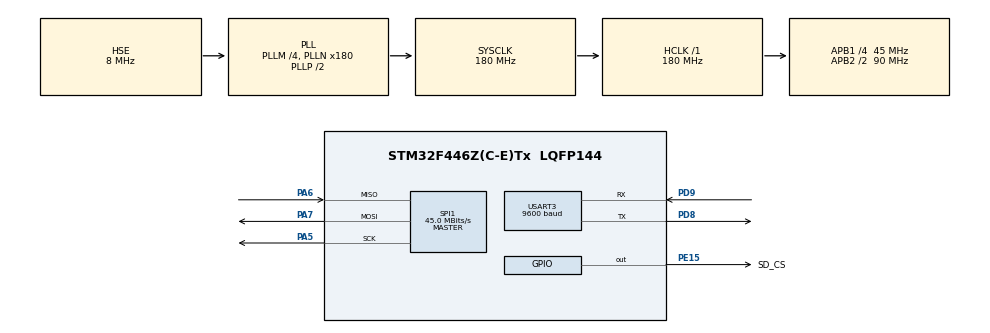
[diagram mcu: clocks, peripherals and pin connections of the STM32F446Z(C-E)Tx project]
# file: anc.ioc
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FATFS._FS_EXFAT=1
FATFS._MAX_SS=4096
FATFS._USE_LFN=1
Mcu.Family=STM32F4
Mcu.Name=STM32F446Z(C-E)Tx
Mcu.Package=LQFP144
NVIC.PriorityGroup=NVIC_PRIORITYGROUP_4
NVIC.USART3_IRQn=true\:0\:0\:false\:false\:true\:true\:true
PA13.Mode=Serial_Wire
PA13.Signal=SYS_JTMS-SWDIO
PA14.Mode=Serial_Wire
PA14.Signal=SYS_JTCK-SWCLK
PA5.Mode=Full_Duplex_Master
PA5.Signal=SPI1_SCK
PA6.Mode=Full_Duplex_Master
PA6.Signal=SPI1_MISO
PA7.Mode=Full_Duplex_Master
PA7.Signal=SPI1_MOSI
PD8.Mode=Asynchronous
PD8.Signal=USART3_TX
PD9.Mode=Asynchronous
PD9.Signal=USART3_RX
PE15.GPIO_Label=SD_CS
PE15.Signal=GPIO_Output
PH0-OSC_IN.Mode=HSE-External-Oscillator
PH0-OSC_IN.Signal=RCC_OSC_IN
PH1-OSC_OUT.Mode=HSE-External-Oscillator
PH1-OSC_OUT.Signal=RCC_OSC_OUT
ProjectManager.HeapSize=0x200
ProjectManager.StackSize=0x400
ProjectManager.TargetToolchain=STM32CubeIDE
RCC.48MHZClocksFreq_Value=24000000
RCC.AHBFreq_Value=180000000
RCC.APB1CLKDivider=RCC_HCLK_DIV4
RCC.APB1Freq_Value=45000000
RCC.APB1TimFreq_Value=90000000
RCC.APB2CLKDivider=RCC_HCLK_DIV2
RCC.APB2Freq_Value=90000000
RCC.APB2TimFreq_Value=180000000
RCC.CortexFreq_Value=180000000
RCC.HCLKFreq_Value=180000000
RCC.HSE_VALUE=8000000
RCC.HSI_VALUE=16000000
RCC.PLLM=4
RCC.PLLMUL=RCC_PLL_MUL9
RCC.PLLN=180
RCC.PLLQ=7
RCC.PLLSourceVirtual=RCC_PLLSOURCE_HSE
RCC.PRESCALERUSB=RCC_USBCLKSOURCE_PLL_DIV1_5
RCC.SYSCLKFreq_VALUE=180000000
RCC.SYSCLKSource=RCC_SYSCLKSOURCE_PLLCLK
RCC.SYSCLKSourceVirtual=RCC_SYSCLKSOURCE_PLLCLK
RCC.USBFreq_Value=51428571.428571425
RCC.VCOOutputFreq_Value=360000000
SPI1.CalculateBaudRate=45.0 MBits/s
SPI1.Direction=SPI_DIRECTION_2LINES
SPI1.Mode=SPI_MODE_MASTER
SPI1.VirtualType=VM_MASTER
USART3.BaudRate=9600
USART3.VirtualMode=VM_ASYNC
VP_FATFS_VS_Generic.Mode=User_defined
board=NUCLEO-F446ZE

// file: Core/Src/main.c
/* USER CODE BEGIN Header */
/**
  ******************************************************************************
  * @file           : main.c
  * @brief          : Main program body
  ******************************************************************************
  * @attention
  *
  * Copyright (c) 2022 STMicroelectronics.
  * All rights reserved.
  *
  * This software is licensed under terms that can be found in the LICENSE file
  * in the root directory of this software component.
  * If no LICENSE file comes with this software, it is provided AS-IS.
  *
  ******************************************************************************
  */
/* USER CODE END Header */
#include "main.h"
#include "fatfs.h"

/* USER CODE BEGIN Includes */
#define ARM_MATH_CM4
#include "arm_math.h"
#include "stdio.h"
#include "fatfs_sd.h"
#include "string.h"
#include "stdio.h"
#include "stdlib.h"
/* USER CODE END Includes */

/* USER CODE BEGIN PTD */
FATFS fs;
FATFS  *pfs;
FIL fil;
FIL fil2;
FRESULT fresult;
DWORD fre_clust;
uint32_t totalSpace, freeSpace;
char buffer[1024];
UINT br,bw;

/* USER CODE END PTD */

/* USER CODE BEGIN PD */
#define TEST_LENGTH_SAMPLES 9975u //IMPORTANT: use same definition value in testData.c
#define BLOCK_SIZE 			1
#define NUM_TAPS 			17
//#define SNR_THRESHOLD_F32 	80.0f
#define PRECISION_DP 6 //number of decimal place to compare
/* USER CODE END PD */

SPI_HandleTypeDef hspi1;

UART_HandleTypeDef huart3;

/* USER CODE BEGIN PV */
float32_t testOutput;
float32_t testInput;
static float32_t firStateF32[BLOCK_SIZE + NUM_TAPS - 1];
const float32_t firCoeffs32[NUM_TAPS] = {
		-0.0021834891907904987,
		  0.023133081888390004,
		  0.03440125360693663,
		  0.054016706019288735,
		  0.07610902012650608,
		  0.09772535709704201,
		  0.11593264129629442,
		  0.12810228628568973,
		  0.13238343618749146,
		  0.12810228628568973,
		  0.11593264129629442,
		  0.09772535709704201,
		  0.07610902012650608,
		  0.054016706019288735,
		  0.03440125360693663,
		  0.023133081888390004,
		  -0.0021834891907904987
};
uint32_t blockSize = BLOCK_SIZE;
uint32_t numBlocks = TEST_LENGTH_SAMPLES/BLOCK_SIZE;
float32_t snr;
uint32_t i=0, count=0, match, mismatch;
/* USER CODE END PV */

void SystemClock_Config(void);
static void MX_GPIO_Init(void);
static void MX_USART3_UART_Init(void);
static void MX_SPI1_Init(void);

/* USER CODE BEGIN 0 */
void send_uart(char *string)
{
	uint8_t len = strlen (string);
	HAL_UART_Transmit(&huart3, (uint8_t *)string, len, 2000);
}

int bufsize (char *buf)
{
	int i=0;
	while (*buf++ != '\0') i++;
	return i;
}

void bufclear (void)
{
	for (int i=0; i<1024; i++)
	{
		buffer[i] = '\0';
	}
}

float arm_snr_f32(float *pRef, float *pTest, uint32_t buffSize)
{
  float EnergySignal = 0.0, EnergyError = 0.0;
  uint32_t i;
  float SNR;
  int temp;
  int *test;

  for (i = 0; i < buffSize; i++) {
 	  /* Checking for a NAN value in pRef array */
	  test =   (int *)(&pRef[i]);
      temp =  *test;
	  if(temp == 0x7FC00000)
		  return(0);
	  /* Checking for a NAN value in pTest array */
	  test =   (int *)(&pTest[i]);
      temp =  *test;
	  if(temp == 0x7FC00000)
		  return(0);
      EnergySignal += pRef[i] * pRef[i];
      EnergyError += (pRef[i] - pTest[i]) * (pRef[i] - pTest[i]);
    }
  /* Checking for a NAN value in EnergyError */
  test =   (int *)(&EnergyError);
  temp =  *test;
  if(temp == 0x7FC00000)
	  return(0);
  SNR = 10 * log10 (EnergySignal / EnergyError);
  return (SNR);
}

void FloatToUint8(uint8_t * char_array, float32_t* data, uint16_t size)
{
    uint16_t i;
    for(i=0;i<512;i++)
    {
        char_array[i] = round(data[i]) ;
    }
}
/* USER CODE END 0 */

int main(void)
{

  /* MCU Configuration--------------------------------------------------------*/

  /* Reset of all peripherals, Initializes the Flash interface and the Systick. */
  HAL_Init();

  /* Configure the system clock */
  SystemClock_Config();

  /* Initialize all configured peripherals */
  MX_GPIO_Init();
  MX_FATFS_Init();
  MX_USART3_UART_Init();
  MX_SPI1_Init();
  /* USER CODE BEGIN 2 */

  /* Mount SD Card */

  fresult = f_mount(&fs,"",1);
  if (fresult == FR_NOT_READY)send_uart("Rosak Bro\n");
  else if(fresult != FR_OK) send_uart("ERROR in mounting SD card\r\n");
  else send_uart("SD CARD mounted successfully\r\n");

  /* USER CODE END 2 */

  /* Infinite loop */
  while (1)
  {
	  arm_fir_instance_f32 S;
	  	  	  	float32_t *inputF32;
	  	  	  	float32_t  *outputF32;

	  	  	  	inputF32 = &testInput;
	  	  	  	outputF32 = &testOutput;
	  	  	  	arm_fir_init_f32(&S, NUM_TAPS, (float32_t *)&firCoeffs32[0], &firStateF32[0], blockSize);

	  	  	  	fresult = f_open(&fil, "one.txt", FA_READ);
	  	  	  	if(fresult != FR_OK) send_uart("ERROR in f_open txt file\r\n");
	  	  	  	else send_uart("f_open for read successful txt\r\n");

	  	  	  	fresult = f_open(&fil2, "one_out_try.txt", FA_READ | FA_WRITE | FA_OPEN_ALWAYS);
	  	  	  	if(fresult != FR_OK) send_uart("ERROR in f_open txt file\r\n");
	  	  	  	else send_uart("f_open for write successful\r\n");

	  	  	  	//BYTE tmp [30];
	  	  	  	//char *data;
	  	  	  	char buf[30];
	  	  	  	while(f_gets((TCHAR*)buf, 30, &fil)) {
	  	  	  	//for (i=0; i<TEST_LENGTH_SAMPLES; i++) {
	  	  	  	  //HAL_UART_Transmit(&huart2, tmp, 8, 2000);
	  	  	  	  //f_read (&fil, buf, 8, &br);
	  	  	  	  //f_gets((TCHAR*)buf, 30, &fil);
	  	  	  	  if(fresult != FR_OK) 	{sprintf (buffer, "read = %s\n", buf); send_uart(buffer); bufclear();}
	  	  	  	  else 	{sprintf (buffer, "ERROR in read = %s\n", buf); send_uart(buffer); bufclear();}
	  	  	  	  testInput = atof(buf);

	  	  	  	  arm_fir_f32(&S, inputF32 + (i * blockSize), outputF32 + (i * blockSize), blockSize);

	  	  	  	  char data[30];
	  	  	  	  //data = (char *) &testOutput;
	  	  	  	  printf(data, "%f\n", testOutput);
	  	  	  	  fresult = f_puts(data, &fil2);
	  	  	  	  if(fresult != FR_OK) 	{sprintf (buffer, "write = %s\n", data); send_uart(buffer); bufclear();}
	  	  	  	  else 	{sprintf (buffer, "ERROR in write = %s\n", data); send_uart(buffer); bufclear();}
	  	  	  	  //i++;
	  	  	  	  count++;
	  	  	  	}

	  	  	  	f_close(&fil);
	  	  	  	f_close(&fil2);
	  	  	  	send_uart("File is closed\r\n");

	  	  	  	while (1);
  }
}

void SystemClock_Config(void)
{
  RCC_OscInitTypeDef RCC_OscInitStruct = {0};
  RCC_ClkInitTypeDef RCC_ClkInitStruct = {0};

  /** Configure the main internal regulator output voltage
  */
  __HAL_RCC_PWR_CLK_ENABLE();
  __HAL_PWR_VOLTAGESCALING_CONFIG(PWR_REGULATOR_VOLTAGE_SCALE1);
  /** Initializes the RCC Oscillators according to the specified parameters
  * in the RCC_OscInitTypeDef structure.
  */
  RCC_OscInitStruct.OscillatorType = RCC_OSCILLATORTYPE_HSE;
  RCC_OscInitStruct.HSEState = RCC_HSE_ON;
  RCC_OscInitStruct.PLL.PLLState = RCC_PLL_ON;
  RCC_OscInitStruct.PLL.PLLSource = RCC_PLLSOURCE_HSE;
  RCC_OscInitStruct.PLL.PLLM = 4;
  RCC_OscInitStruct.PLL.PLLN = 180;
  RCC_OscInitStruct.PLL.PLLP = RCC_PLLP_DIV2;
  RCC_OscInitStruct.PLL.PLLQ = 7;
  RCC_OscInitStruct.PLL.PLLR = 2;
  if (HAL_RCC_OscConfig(&RCC_OscInitStruct) != HAL_OK)
  {
    Error_Handler();
  }
  /** Activate the Over-Drive mode
  */
  if (HAL_PWREx_EnableOverDrive() != HAL_OK)
  {
    Error_Handler();
  }
  /** Initializes the CPU, AHB and APB buses clocks
  */
  RCC_ClkInitStruct.ClockType = RCC_CLOCKTYPE_HCLK|RCC_CLOCKTYPE_SYSCLK
                              |RCC_CLOCKTYPE_PCLK1|RCC_CLOCKTYPE_PCLK2;
  RCC_ClkInitStruct.SYSCLKSource = RCC_SYSCLKSOURCE_PLLCLK;
  RCC_ClkInitStruct.AHBCLKDivider = RCC_SYSCLK_DIV1;
  RCC_ClkInitStruct.APB1CLKDivider = RCC_HCLK_DIV4;
  RCC_ClkInitStruct.APB2CLKDivider = RCC_HCLK_DIV2;

  if (HAL_RCC_ClockConfig(&RCC_ClkInitStruct, FLASH_LATENCY_5) != HAL_OK)
  {
    Error_Handler();
  }
}

static void MX_SPI1_Init(void)
{

  /* SPI1 parameter configuration*/
  hspi1.Instance = SPI1;
  hspi1.Init.Mode = SPI_MODE_MASTER;
  hspi1.Init.Direction = SPI_DIRECTION_2LINES;
  hspi1.Init.DataSize = SPI_DATASIZE_8BIT;
  hspi1.Init.CLKPolarity = SPI_POLARITY_LOW;
  hspi1.Init.CLKPhase = SPI_PHASE_1EDGE;
  hspi1.Init.NSS = SPI_NSS_SOFT;
  hspi1.Init.BaudRatePrescaler = SPI_BAUDRATEPRESCALER_2;
  hspi1.Init.FirstBit = SPI_FIRSTBIT_MSB;
  hspi1.Init.TIMode = SPI_TIMODE_DISABLE;
  hspi1.Init.CRCCalculation = SPI_CRCCALCULATION_DISABLE;
  hspi1.Init.CRCPolynomial = 10;
  if (HAL_SPI_Init(&hspi1) != HAL_OK)
  {
    Error_Handler();
  }

}

static void MX_USART3_UART_Init(void)
{

  huart3.Instance = USART3;
  huart3.Init.BaudRate = 9600;
  huart3.Init.WordLength = UART_WORDLENGTH_8B;
  huart3.Init.StopBits = UART_STOPBITS_1;
  huart3.Init.Parity = UART_PARITY_NONE;
  huart3.Init.Mode = UART_MODE_TX_RX;
  huart3.Init.HwFlowCtl = UART_HWCONTROL_NONE;
  huart3.Init.OverSampling = UART_OVERSAMPLING_16;
  if (HAL_UART_Init(&huart3) != HAL_OK)
  {
    Error_Handler();
  }

}

static void MX_GPIO_Init(void)
{
  GPIO_InitTypeDef GPIO_InitStruct = {0};

  /* GPIO Ports Clock Enable */
  __HAL_RCC_GPIOH_CLK_ENABLE();
  __HAL_RCC_GPIOA_CLK_ENABLE();
  __HAL_RCC_GPIOE_CLK_ENABLE();
  __HAL_RCC_GPIOD_CLK_ENABLE();

  /*Configure GPIO pin Output Level */
  HAL_GPIO_WritePin(SD_CS_GPIO_Port, SD_CS_Pin, GPIO_PIN_RESET);

  /*Configure GPIO pin : SD_CS_Pin */
  GPIO_InitStruct.Pin = SD_CS_Pin;
  GPIO_InitStruct.Mode = GPIO_MODE_OUTPUT_PP;
  GPIO_InitStruct.Pull = GPIO_NOPULL;
  GPIO_InitStruct.Speed = GPIO_SPEED_FREQ_LOW;
  HAL_GPIO_Init(SD_CS_GPIO_Port, &GPIO_InitStruct);

}

void Error_Handler(void)
{
  /* USER CODE BEGIN Error_Handler_Debug */
   /* User can add his own implementation to report the HAL error return state */
   while(1)
   {
	   send_uart("NOT OK BOSS!!\n");
   }
  /* USER CODE END Error_Handler_Debug */
}
